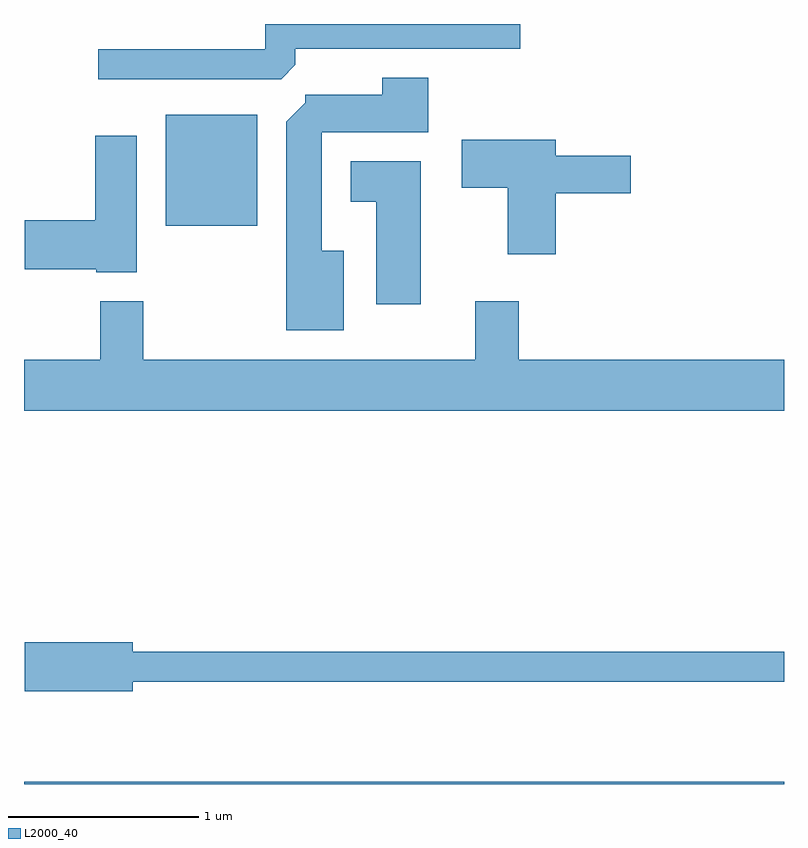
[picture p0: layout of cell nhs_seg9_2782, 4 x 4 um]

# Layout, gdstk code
import gdstk
lib = gdstk.Library(unit=1e-6, precision=1e-09)
def R(c, l, rs):  # rectangles x0, y0, x1, y1
    for r in rs: c.add(gdstk.rectangle(r[:2], r[2:], *l))
def P(c, l, *ps):  # polygons
    for p in ps: c.add(gdstk.Polygon(p, *l))
L2000_40 = (2000, 40)

nhs_seg9_2782 = lib.new_cell('nhs_seg9_2782')
R(nhs_seg9_2782, L2000_40, [(265.611,2076.432,269.611,2076.444), (266.356,2079.371,266.839,2079.954)])
P(nhs_seg9_2782, L2000_40, [(267.039,2080.217),(267.039,2080.301),(268.223,2080.301),(268.223,2080.432),(266.881,2080.432),(266.881,2080.299),(266.003,2080.299),(266.003,2080.141),(266.964,2080.141)],
  [(267.294,2079.239),(267.179,2079.239),(267.179,2079.861),(267.739,2079.861),(267.739,2080.149),(267.496,2080.149),(267.496,2080.059),(267.091,2080.059),(267.091,2080.017),(266.991,2079.917),(266.991,2078.821),(267.294,2078.821)],
  [(266.204,2079.844),(265.986,2079.844),(265.986,2079.399),(265.616,2079.399),(265.616,2079.141),(265.99,2079.141),(265.99,2079.126),(266.204,2079.126)],
  [(268.409,2079.541),(268.804,2079.541),(268.804,2079.739),(268.409,2079.739),(268.409,2079.824),(267.916,2079.824),(267.916,2079.571),(268.156,2079.571),(268.156,2079.221),(268.409,2079.221)],
  [(267.699,2079.709),(267.331,2079.709),(267.331,2079.496),(267.466,2079.496),(267.466,2078.956),(267.699,2078.956)],
  [(269.611,2078.664),(268.214,2078.664),(268.214,2078.974),(267.986,2078.974),(267.986,2078.664),(266.239,2078.664),(266.239,2078.974),(266.011,2078.974),(266.011,2078.664),(265.611,2078.664),(265.611,2078.396),(269.611,2078.396)],
  [(266.184,2076.971),(269.611,2076.971),(269.611,2077.129),(266.184,2077.129),(266.184,2077.179),(265.616,2077.179),(265.616,2076.921),(266.184,2076.921)])

lib.write_gds('nhs_seg9_2782.gds')
